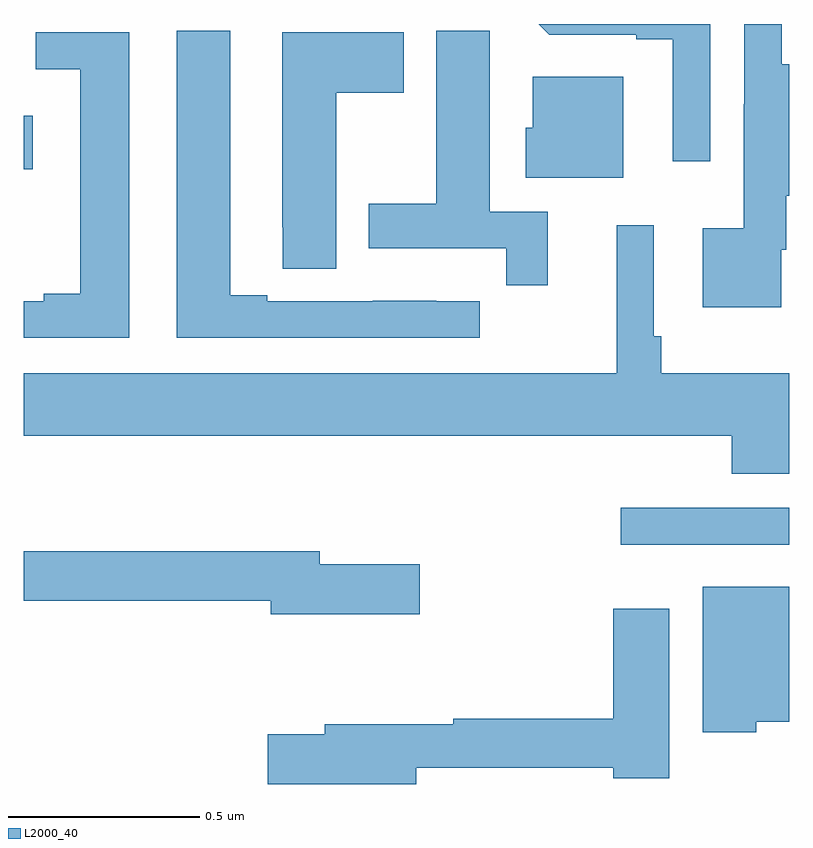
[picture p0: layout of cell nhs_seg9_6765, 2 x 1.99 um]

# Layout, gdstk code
import gdstk
lib = gdstk.Library(unit=1e-6, precision=1e-09)
def R(c, l, rs):  # rectangles x0, y0, x1, y1
    for r in rs: c.add(gdstk.rectangle(r[:2], r[2:], *l))
def P(c, l, *ps):  # polygons
    for p in ps: c.add(gdstk.Polygon(p, *l))
L2000_40 = (2000, 40)

nhs_seg9_6765 = lib.new_cell('nhs_seg9_6765')
R(nhs_seg9_6765, L2000_40, [(197.559,1192.14,198,1192.236), (196,1193.12,196.024,1193.26)])
P(nhs_seg9_6765, L2000_40, [(197.979,1192.91),(197.992,1192.91),(197.992,1193.051),(198,1193.051),(198,1193.395),(197.98,1193.395),(197.98,1193.5),(197.882,1193.5),(197.882,1193.291),(197.881,1193.291),(197.881,1192.966),(197.774,1192.966),(197.774,1192.76),(197.979,1192.76)],
  [(197.793,1193.5),(197.345,1193.5),(197.373,1193.472),(197.6,1193.472),(197.6,1193.46),(197.696,1193.46),(197.696,1193.142),(197.793,1193.142)],
  [(197.369,1193.01),(197.218,1193.01),(197.218,1193.372),(197.217,1193.372),(197.217,1193.483),(197.078,1193.483),(197.078,1193.031),(196.901,1193.031),(196.901,1192.914),(197.26,1192.914),(197.26,1192.818),(197.369,1192.818)],
  [(197.191,1192.776),(197.078,1192.776),(197.078,1192.777),(196.912,1192.777),(196.912,1192.776),(196.636,1192.776),(196.636,1192.791),(196.54,1192.791),(196.54,1193.483),(196.4,1193.483),(196.4,1192.68),(197.191,1192.68)],
  [(196.816,1193.32),(196.993,1193.32),(196.993,1193.479),(196.676,1193.479),(196.676,1192.969),(196.677,1192.969),(196.677,1192.861),(196.816,1192.861)],
  [(196.276,1193.478),(196.032,1193.478),(196.032,1193.382),(196.148,1193.382),(196.148,1192.796),(196.052,1192.796),(196.052,1192.776),(196,1192.776),(196,1192.68),(196.276,1192.68)],
  [(197.566,1193.362),(197.33,1193.362),(197.33,1193.229),(197.312,1193.229),(197.312,1193.099),(197.566,1193.099)],
  [(198,1192.588),(197.666,1192.588),(197.666,1192.684),(197.646,1192.684),(197.646,1192.975),(197.549,1192.975),(197.549,1192.588),(196,1192.588),(196,1192.424),(197.849,1192.424),(197.849,1192.325),(198,1192.325)],
  [(197.035,1192.089),(196.774,1192.089),(196.774,1192.123),(196,1192.123),(196,1191.994),(196.646,1191.994),(196.646,1191.959),(197.035,1191.959)],
  [(197.913,1191.677),(198,1191.677),(198,1192.03),(197.774,1192.03),(197.774,1191.65),(197.913,1191.65)],
  [(197.026,1191.558),(197.54,1191.558),(197.54,1191.53),(197.686,1191.53),(197.686,1191.973),(197.54,1191.973),(197.54,1191.686),(197.122,1191.686),(197.122,1191.671),(196.787,1191.671),(196.787,1191.645),(196.638,1191.645),(196.638,1191.515),(197.026,1191.515)])

lib.write_gds('nhs_seg9_6765.gds')
